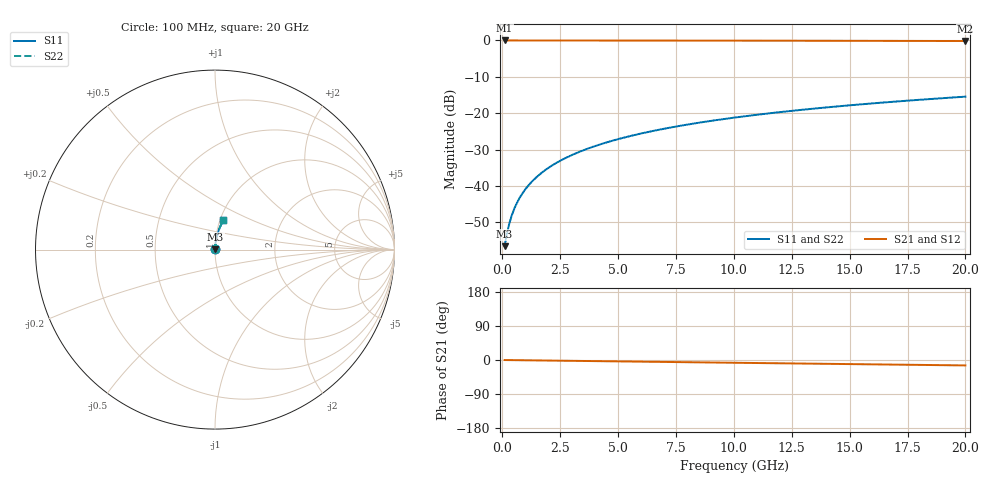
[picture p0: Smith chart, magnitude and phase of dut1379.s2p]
! Touchstone file exported from HFSS 2026.1.0
!  File:  C:/ffzhzh/LocalFiles/Ansys_Project_Files/temp_train_BSMRDL_1379_1783179539_43440.aedt
!  Generated:  11:40:16 PM Jul  4, 2026
!  Design:  BSMRDL
!  Project:  temp_train_BSMRDL_1379_1783179539_43440
! Variables:
!  h_bsmrdl = 3.35um
!  h_ox = 20um
!  h_rdl = 5um
!  h_sub = 80um
!  h_tmrdl = 5um
!  h_tsv = 80um
!  h_via = 3um
!  l_bsmrdl = 151.66um
!  l_sub = 551.66um
!  l_tmrdl = 200um
!  m_sub = 200um
!  pitch = 47.92um
!  r_tsv = 6um
!  s_tmrdl = 10um
!  w_bsmrdl = 16.87um
!  w_sub = 500um
!  w_tmrdl = 12um
!  x_tsv_center1 = 206um
!  x_tsv_center2 = 374.53um
!  x_tsv_center3 = 586.53um
!  x_tsv_center4 = 755.06um
!  x_tsv_center5 = 967.06um
!  x_tsv_center6 = 1135.59um
# GHz S MA R 50.000000
! Terminal data exported
! Port[1] = BSM_RDL1_1_T1
! Port[2] = BSM_RDL1_1_T2
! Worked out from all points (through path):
!   200 points, 100 MHz to 20 GHz, reference 50 ohm
!   highest |S21| = -0.01 dB at 100 MHz (marker M1); lowest = -0.2 dB at 20 GHz (marker M2)
!   group delay of S21, straight-line fit = 1.99 ps
!   lowest |S11| = -56.6 dB at 100 MHz (marker M3), VSWR 1.00, Z = 50.1 + j0.0935 ohm
!   |S11| at or under -10 dB: start of sweep to end of sweep
!   |S22| runs from -56.6 to -15.5 dB; largest |S21 - S12| = 2.2e-15
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0.1  0.001487 38.9  0.9988 -0.1  0.9988 -0.1  0.001487 38.9
! Gamma 0 0 0 0
! Port Impedance 50 0 50 0
0.2  0.002203 57.3  0.9988 -0.2  0.9988 -0.2  0.002203 57.3
0.3  0.003019 65.9  0.9988 -0.2  0.9988 -0.2  0.003019 65.9
0.4  0.003863 70.8  0.9987 -0.3  0.9987 -0.3  0.003863 70.8
0.5  0.004716 73.9  0.9987 -0.4  0.9987 -0.4  0.004717 73.9
0.6  0.005575 76.0  0.9987 -0.4  0.9987 -0.4  0.005575 76.0
0.8  0.007303 78.9  0.9986 -0.6  0.9986 -0.6  0.007303 78.9
1.1  0.009912 81.2  0.9986 -0.8  0.9986 -0.8  0.009912 81.2
1.5  0.01341 82.8  0.9985 -1.1  0.9985 -1.1  0.01341 82.8
1.8  0.01604 83.5  0.9984 -1.3  0.9984 -1.3  0.01604 83.5
2.1  0.01867 83.9  0.9983 -1.5  0.9983 -1.5  0.01867 83.9
2.7  0.02393 84.3  0.9982 -2.0  0.9982 -2.0  0.02393 84.3
3.5  0.03093 84.3  0.9979 -2.6  0.9979 -2.6  0.03093 84.3
4.2  0.03703 84.2  0.9975 -3.1  0.9975 -3.1  0.03703 84.2
5  0.04399 83.8  0.9971 -3.7  0.9971 -3.7  0.04399 83.8
5.9  0.05178 83.4  0.9966 -4.3  0.9966 -4.3  0.05178 83.4
6.8  0.05952 82.9  0.996 -5.0  0.996 -5.0  0.05952 82.9
8.3  0.07235 81.9  0.9948 -6.1  0.9948 -6.1  0.07235 81.9
10.1  0.08759 80.8  0.9933 -7.3  0.9933 -7.3  0.08759 80.8
13.4  0.1151 78.6  0.9899 -9.7  0.9899 -9.7  0.1151 78.6
16.7  0.1422 76.4  0.986 -12.0  0.986 -12.0  0.1422 76.4
20  0.1687 74.2  0.9814 -14.3  0.9814 -14.3  0.1687 74.2
